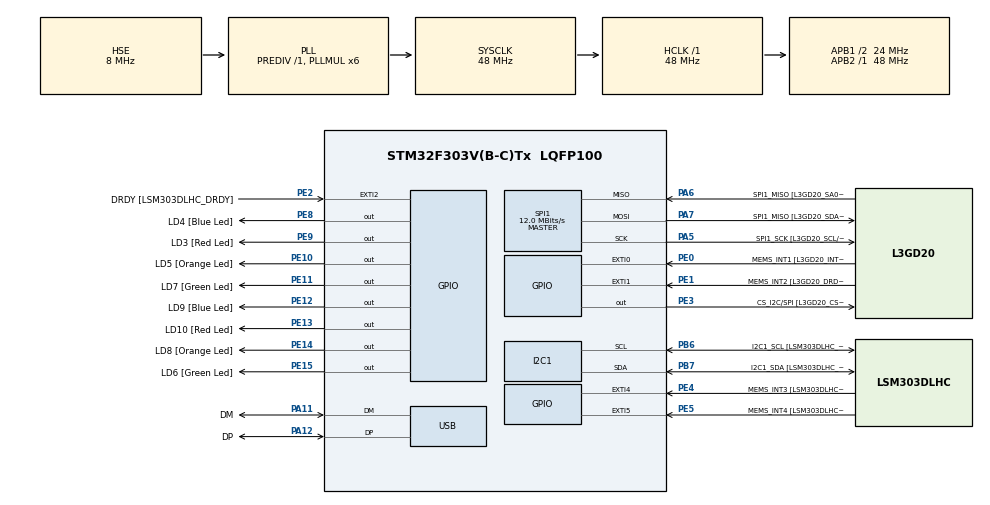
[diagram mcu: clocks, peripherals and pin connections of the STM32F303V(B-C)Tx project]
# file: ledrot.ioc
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I2C1.Timing-I2C=0x2000090E
Mcu.Family=STM32F3
Mcu.Name=STM32F303V(B-C)Tx
Mcu.Package=LQFP100
NVIC.PriorityGroup=NVIC_PRIORITYGROUP_0
PA11.GPIO_Label=DM
PA11.Mode=Device
PA11.Signal=USB_DM
PA12.GPIO_Label=DP
PA12.Mode=Device
PA12.Signal=USB_DP
PA13.GPIO_Label=SWDIO
PA13.Mode=Serial_Wire
PA13.Signal=SYS_JTMS-SWDIO
PA14.GPIO_Label=SWCLK
PA14.Mode=Serial_Wire
PA14.Signal=SYS_JTCK-SWCLK
PA5.GPIO_Label=SPI1_SCK [L3GD20_SCL/SPC]
PA5.Mode=Full_Duplex_Master
PA5.Signal=SPI1_SCK
PA6.GPIO_Label=SPI1_MISO [L3GD20_SA0/SDO]
PA6.Mode=Full_Duplex_Master
PA6.Signal=SPI1_MISO
PA7.GPIO_Label=SPI1_MISO [L3GD20_SDA/SDI/SDO]
PA7.Mode=Full_Duplex_Master
PA7.Signal=SPI1_MOSI
PB3.GPIO_Label=SWO
PB3.Signal=SYS_JTDO-TRACESWO
PB6.GPIO_Label=I2C1_SCL [LSM303DLHC_SCL]
PB6.Mode=I2C
PB6.Signal=I2C1_SCL
PB7.GPIO_Label=I2C1_SDA [LSM303DLHC_SDA]
PB7.Mode=I2C
PB7.Signal=I2C1_SDA
PC14-OSC32_IN.GPIO_Label=OSC32_IN
PC14-OSC32_IN.Signal=RCC_OSC32_IN
PC15-OSC32_OUT.GPIO_Label=OSC32_OUT
PC15-OSC32_OUT.Signal=RCC_OSC32_OUT
PE0.GPIO_Label=MEMS_INT1 [L3GD20_INT1]
PE0.GPIO_ModeDefaultEXTI=GPIO_MODE_EVT_RISING
PE0.Signal=GPXTI0
PE1.GPIO_Label=MEMS_INT2 [L3GD20_DRDY/INT2]
PE1.GPIO_ModeDefaultEXTI=GPIO_MODE_EVT_RISING
PE1.Signal=GPXTI1
PE10.GPIO_Label=LD5 [Orange Led]
PE10.Signal=GPIO_Output
PE11.GPIO_Label=LD7 [Green Led]
PE11.Signal=GPIO_Output
PE12.GPIO_Label=LD9 [Blue Led]
PE12.Signal=GPIO_Output
PE13.GPIO_Label=LD10 [Red Led]
PE13.Signal=GPIO_Output
PE14.GPIO_Label=LD8 [Orange Led]
PE14.Signal=GPIO_Output
PE15.GPIO_Label=LD6 [Green Led]
PE15.Signal=GPIO_Output
PE2.GPIO_Label=DRDY [LSM303DLHC_DRDY]
PE2.GPIO_ModeDefaultEXTI=GPIO_MODE_EVT_RISING
PE2.Signal=GPXTI2
PE3.GPIO_Label=CS_I2C/SPI [L3GD20_CS_I2C/SPI]
PE3.Signal=GPIO_Output
PE4.GPIO_Label=MEMS_INT3 [LSM303DLHC_INT1]
PE4.GPIO_ModeDefaultEXTI=GPIO_MODE_EVT_RISING
PE4.Signal=GPXTI4
PE5.GPIO_Label=MEMS_INT4 [LSM303DLHC_INT2]
PE5.GPIO_ModeDefaultEXTI=GPIO_MODE_EVT_RISING
PE5.Signal=GPXTI5
PE8.GPIO_Label=LD4 [Blue Led]
PE8.Signal=GPIO_Output
PE9.GPIO_Label=LD3 [Red Led]
PE9.Signal=GPIO_Output
PF0-OSC_IN.GPIO_Label=OSC_IN
PF0-OSC_IN.Mode=HSE-External-Clock-Source
PF0-OSC_IN.Signal=RCC_OSC_IN
PF1-OSC_OUT.GPIO_Label=OSC_OUT
PF1-OSC_OUT.Signal=RCC_OSC_OUT
ProjectManager.HeapSize=0x200
ProjectManager.StackSize=0x400
ProjectManager.TargetToolchain=STM32CubeIDE
RCC.AHBFreq_Value=48000000
RCC.APB1CLKDivider=RCC_HCLK_DIV2
RCC.APB1Freq_Value=24000000
RCC.APB1TimFreq_Value=48000000
RCC.APB2Freq_Value=48000000
RCC.APB2TimFreq_Value=48000000
RCC.CortexFreq_Value=48000000
RCC.HCLKFreq_Value=48000000
RCC.HSE_VALUE=8000000
RCC.HSI_VALUE=8000000
RCC.LSE_VALUE=32768
RCC.PLLMUL=RCC_PLL_MUL6
RCC.SYSCLKFreq_VALUE=48000000
RCC.SYSCLKSourceVirtual=RCC_SYSCLKSOURCE_PLLCLK
RCC.USBFreq_Value=48000000
SPI1.BaudRatePrescaler=SPI_BAUDRATEPRESCALER_4
SPI1.BaudRatePrescaler-Full_Duplex_Master=SPI_BAUDRATEPRESCALER_2
SPI1.CalculateBaudRate=12.0 MBits/s
SPI1.CalculateBaudRate-Full_Duplex_Master=24.0 MBits/s
SPI1.Direction=SPI_DIRECTION_2LINES
SPI1.Mode=SPI_MODE_MASTER
SPI1.Mode-Full_Duplex_Master=SPI_MODE_MASTER
SPI1.VirtualType=VM_MASTER
board=STM32F3DISCOVERY

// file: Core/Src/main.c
/* USER CODE BEGIN Header */
/**
  ******************************************************************************
  * @file           : main.c
  * @brief          : Main program body
  ******************************************************************************
  * @attention
  *
  * <h2><center>&copy; Copyright (c) 2019 STMicroelectronics.
  * All rights reserved.</center></h2>
  *
  * This software component is licensed by ST under BSD 3-Clause license,
  * the "License"; You may not use this file except in compliance with the
  * License. You may obtain a copy of the License at:
  *                        opensource.org/licenses/BSD-3-Clause
  *
  ******************************************************************************
  */
/* USER CODE END Header */

#include "main.h"

I2C_HandleTypeDef hi2c1;

SPI_HandleTypeDef hspi1;

PCD_HandleTypeDef hpcd_USB_FS;

void SystemClock_Config(void);
static void MX_GPIO_Init(void);
static void MX_I2C1_Init(void);
static void MX_SPI1_Init(void);
static void MX_USB_PCD_Init(void);

int main(void)
{

  /* MCU Configuration--------------------------------------------------------*/

  /* Reset of all peripherals, Initializes the Flash interface and the Systick. */
  HAL_Init();

  /* Configure the system clock */
  SystemClock_Config();

  /* Initialize all configured peripherals */
  MX_GPIO_Init();
  MX_I2C1_Init();
  MX_SPI1_Init();
  MX_USB_PCD_Init();

  /* Infinite loop */
  /* USER CODE BEGIN WHILE */
  uint32_t *clk= (uint32_t*)(0x40021014);
 uint32_t *modeE= (uint32_t*)0x48001000;
  uint32_t *modeA= (uint32_t*)0x48000000;
  uint32_t *inA= (uint32_t*)(0x48000010);
  uint32_t *outE= (uint32_t*)(0x48001014);
	uint32_t i=16,k=8;
	uint8_t change=0;
	uint64_t loop;
  *clk &= 0x0;
 *clk |= (1<<21);
 *clk |=(1<<17);

 *modeA &= ~(0x3);

 void serial1()
 {
	 loop=0;
	  while(!(*inA & 0x1) && loop<100)
		 	  {

		   	  			  	*modeE &= ~(3<<(i));
		   	  			  	*modeE |= (1<<(i));
		   	  			  	*outE |= (1<<k);
		   	  		for(uint64_t j=0;j<300000;j++);
		   	  		*outE ^= (1<<k);
		   	  		i+=2;
		   	  		k++;

		   	  		if(i>31)
		   	  		{
		   	  			i=16;
		   	  			k=8;
		   	  		}
		   	  		loop++;
		 	  }
	  i=16;
	  k=8;
	  change++;
 }

 void serial2()
 {
	 loop=0;

	 while(!(*inA & 0x1) && loop<100)
	 	  {

	   	  			  	*modeE &= ~(3<<(i));
	   	  			  	*modeE |= (1<<(i));
	   	  			  	*outE |= (1<<k);
	   	  		for(uint64_t j=0;j<500000;j++);
	   	  		*outE ^= (1<<k);
	   	  		k^=(1<<2);
	   	  		i^=(1<<3);
	   	  		loop++;

	 	  }
	  i=16;
	  k=8;
	  change++;
 }

 void serial3()
 {
	 k=9;
	 i=18;
	 loop=0;

	 while(!(*inA & 0x1) && loop<100)
	 	  {

	   	  			  	*modeE &= ~(3<<(i));
	   	  			  	*modeE |= (1<<(i));
	   	  			  	*outE |= (1<<k);
	   	  		for(uint64_t j=0;j<500000;j++);
	   	  		*outE ^= (1<<k);
	   	  		k^=(1<<2);
	   	  		i^=(1<<3);
	   	  		loop++;

	 	  }
	  i=16;
	  k=8;
	  change++;
 }

 void serial4()
 {
	 k=10;
	 i=20;
	 loop=0;

	 while(!(*inA & 0x1) && loop<100)
	 	  {

	   	  			  	*modeE &= ~(3<<(i));
	   	  			  	*modeE |= (1<<(i));
	   	  			  	*outE |= (1<<k);
	   	  		for(uint64_t j=0;j<500000;j++);
	   	  		*outE ^= (1<<k);
	   	  		k^=(1<<2);
	   	  		i^=(1<<3);
	   	  		loop++;

	 	  }
	  i=16;
	  k=8;
	  change++;
 }

 void serial5()
 {
	 k=11;
	 i=22;
	 loop=0;

	 while(!(*inA & 0x1)&& loop<100)
	 	  {

	   	  			  	*modeE &= ~(3<<(i));
	   	  			  	*modeE |= (1<<(i));
	   	  			  	*outE |= (1<<k);
	   	  		for(uint64_t j=0;j<500000;j++);
	   	  		*outE ^= (1<<k);
	   	  		k^=(1<<2);
	   	  		i^=(1<<3);
	   	  		loop++;

	 	  }
	  i=16;
	  k=8;
	  change++;
 }

 void serial6()
 {
	 loop=0;

	 while(!(*inA & 0x1) && loop<50)
	 	  {

	   	  			  	*modeE &= ~(0xFFFF<<(i));
	   	  			  	*modeE |= (0x5555<<(i));
	   	  			  	*outE |= (0xFF<<k);
	   	  		for(uint64_t j=0;j<500000;j++);
	   	  		*outE ^= (0xFF<<k);
	   	  	for(uint64_t j=0;j<500000;j++);
   	  		loop++;

	 	  }
	  i=16;
	  k=8;
	  change++;
 }
  while (1)
  {
	    /* USER CODE END WHILE */

	serial1();
	for(uint64_t j=0;j<1000000;j++);
	serial2();
	for(uint64_t j=0;j<1000000;j++);
	serial3();
	for(uint64_t j=0;j<1000000;j++);
	serial4();
	for(uint64_t j=0;j<1000000;j++);
	serial5();
	for(uint64_t j=0;j<1000000;j++);
	serial6();
	for(uint64_t j=0;j<1000000;j++);

}
}

void SystemClock_Config(void)
{
  RCC_OscInitTypeDef RCC_OscInitStruct = {0};
  RCC_ClkInitTypeDef RCC_ClkInitStruct = {0};
  RCC_PeriphCLKInitTypeDef PeriphClkInit = {0};

  /** Initializes the CPU, AHB and APB busses clocks
  */
  RCC_OscInitStruct.OscillatorType = RCC_OSCILLATORTYPE_HSI|RCC_OSCILLATORTYPE_HSE;
  RCC_OscInitStruct.HSEState = RCC_HSE_BYPASS;
  RCC_OscInitStruct.HSEPredivValue = RCC_HSE_PREDIV_DIV1;
  RCC_OscInitStruct.HSIState = RCC_HSI_ON;
  RCC_OscInitStruct.HSICalibrationValue = RCC_HSICALIBRATION_DEFAULT;
  RCC_OscInitStruct.PLL.PLLState = RCC_PLL_ON;
  RCC_OscInitStruct.PLL.PLLSource = RCC_PLLSOURCE_HSE;
  RCC_OscInitStruct.PLL.PLLMUL = RCC_PLL_MUL6;
  if (HAL_RCC_OscConfig(&RCC_OscInitStruct) != HAL_OK)
  {
    Error_Handler();
  }
  /** Initializes the CPU, AHB and APB busses clocks
  */
  RCC_ClkInitStruct.ClockType = RCC_CLOCKTYPE_HCLK|RCC_CLOCKTYPE_SYSCLK
                              |RCC_CLOCKTYPE_PCLK1|RCC_CLOCKTYPE_PCLK2;
  RCC_ClkInitStruct.SYSCLKSource = RCC_SYSCLKSOURCE_PLLCLK;
  RCC_ClkInitStruct.AHBCLKDivider = RCC_SYSCLK_DIV1;
  RCC_ClkInitStruct.APB1CLKDivider = RCC_HCLK_DIV2;
  RCC_ClkInitStruct.APB2CLKDivider = RCC_HCLK_DIV1;

  if (HAL_RCC_ClockConfig(&RCC_ClkInitStruct, FLASH_LATENCY_1) != HAL_OK)
  {
    Error_Handler();
  }
  PeriphClkInit.PeriphClockSelection = RCC_PERIPHCLK_USB|RCC_PERIPHCLK_I2C1;
  PeriphClkInit.I2c1ClockSelection = RCC_I2C1CLKSOURCE_HSI;
  PeriphClkInit.USBClockSelection = RCC_USBCLKSOURCE_PLL;
  if (HAL_RCCEx_PeriphCLKConfig(&PeriphClkInit) != HAL_OK)
  {
    Error_Handler();
  }
}

static void MX_I2C1_Init(void)
{

  hi2c1.Instance = I2C1;
  hi2c1.Init.Timing = 0x2000090E;
  hi2c1.Init.OwnAddress1 = 0;
  hi2c1.Init.AddressingMode = I2C_ADDRESSINGMODE_7BIT;
  hi2c1.Init.DualAddressMode = I2C_DUALADDRESS_DISABLE;
  hi2c1.Init.OwnAddress2 = 0;
  hi2c1.Init.OwnAddress2Masks = I2C_OA2_NOMASK;
  hi2c1.Init.GeneralCallMode = I2C_GENERALCALL_DISABLE;
  hi2c1.Init.NoStretchMode = I2C_NOSTRETCH_DISABLE;
  if (HAL_I2C_Init(&hi2c1) != HAL_OK)
  {
    Error_Handler();
  }
  /** Configure Analogue filter
  */
  if (HAL_I2CEx_ConfigAnalogFilter(&hi2c1, I2C_ANALOGFILTER_ENABLE) != HAL_OK)
  {
    Error_Handler();
  }
  /** Configure Digital filter
  */
  if (HAL_I2CEx_ConfigDigitalFilter(&hi2c1, 0) != HAL_OK)
  {
    Error_Handler();
  }

}

static void MX_SPI1_Init(void)
{

  /* SPI1 parameter configuration*/
  hspi1.Instance = SPI1;
  hspi1.Init.Mode = SPI_MODE_MASTER;
  hspi1.Init.Direction = SPI_DIRECTION_2LINES;
  hspi1.Init.DataSize = SPI_DATASIZE_4BIT;
  hspi1.Init.CLKPolarity = SPI_POLARITY_LOW;
  hspi1.Init.CLKPhase = SPI_PHASE_1EDGE;
  hspi1.Init.NSS = SPI_NSS_SOFT;
  hspi1.Init.BaudRatePrescaler = SPI_BAUDRATEPRESCALER_4;
  hspi1.Init.FirstBit = SPI_FIRSTBIT_MSB;
  hspi1.Init.TIMode = SPI_TIMODE_DISABLE;
  hspi1.Init.CRCCalculation = SPI_CRCCALCULATION_DISABLE;
  hspi1.Init.CRCPolynomial = 7;
  hspi1.Init.CRCLength = SPI_CRC_LENGTH_DATASIZE;
  hspi1.Init.NSSPMode = SPI_NSS_PULSE_ENABLE;
  if (HAL_SPI_Init(&hspi1) != HAL_OK)
  {
    Error_Handler();
  }

}

static void MX_USB_PCD_Init(void)
{

  hpcd_USB_FS.Instance = USB;
  hpcd_USB_FS.Init.dev_endpoints = 8;
  hpcd_USB_FS.Init.speed = PCD_SPEED_FULL;
  hpcd_USB_FS.Init.phy_itface = PCD_PHY_EMBEDDED;
  hpcd_USB_FS.Init.low_power_enable = DISABLE;
  hpcd_USB_FS.Init.battery_charging_enable = DISABLE;
  if (HAL_PCD_Init(&hpcd_USB_FS) != HAL_OK)
  {
    Error_Handler();
  }

}

static void MX_GPIO_Init(void)
{
  GPIO_InitTypeDef GPIO_InitStruct = {0};

  /* GPIO Ports Clock Enable */
  __HAL_RCC_GPIOE_CLK_ENABLE();
  __HAL_RCC_GPIOC_CLK_ENABLE();
  __HAL_RCC_GPIOF_CLK_ENABLE();
  __HAL_RCC_GPIOA_CLK_ENABLE();
  __HAL_RCC_GPIOB_CLK_ENABLE();

  /*Configure GPIO pin Output Level */
  HAL_GPIO_WritePin(GPIOE, CS_I2C_SPI_Pin|LD4_Pin|LD3_Pin|LD5_Pin
                          |LD7_Pin|LD9_Pin|LD10_Pin|LD8_Pin
                          |LD6_Pin, GPIO_PIN_RESET);

  /*Configure GPIO pins : DRDY_Pin MEMS_INT3_Pin MEMS_INT4_Pin MEMS_INT1_Pin
                           MEMS_INT2_Pin */
  GPIO_InitStruct.Pin = DRDY_Pin|MEMS_INT3_Pin|MEMS_INT4_Pin|MEMS_INT1_Pin
                          |MEMS_INT2_Pin;
  GPIO_InitStruct.Mode = GPIO_MODE_EVT_RISING;
  GPIO_InitStruct.Pull = GPIO_NOPULL;
  HAL_GPIO_Init(GPIOE, &GPIO_InitStruct);

  /*Configure GPIO pins : CS_I2C_SPI_Pin LD4_Pin LD3_Pin LD5_Pin
                           LD7_Pin LD9_Pin LD10_Pin LD8_Pin
                           LD6_Pin */
  GPIO_InitStruct.Pin = CS_I2C_SPI_Pin|LD4_Pin|LD3_Pin|LD5_Pin
                          |LD7_Pin|LD9_Pin|LD10_Pin|LD8_Pin
                          |LD6_Pin;
  GPIO_InitStruct.Mode = GPIO_MODE_OUTPUT_PP;
  GPIO_InitStruct.Pull = GPIO_NOPULL;
  GPIO_InitStruct.Speed = GPIO_SPEED_FREQ_LOW;
  HAL_GPIO_Init(GPIOE, &GPIO_InitStruct);

  /*Configure GPIO pin : B1_Pin */
  GPIO_InitStruct.Mode = GPIO_MODE_INPUT;
  GPIO_InitStruct.Pull = GPIO_NOPULL;

}

void Error_Handler(void)
{
}

/************************ (C) COPYRIGHT STMicroelectronics *****END OF FILE****/
